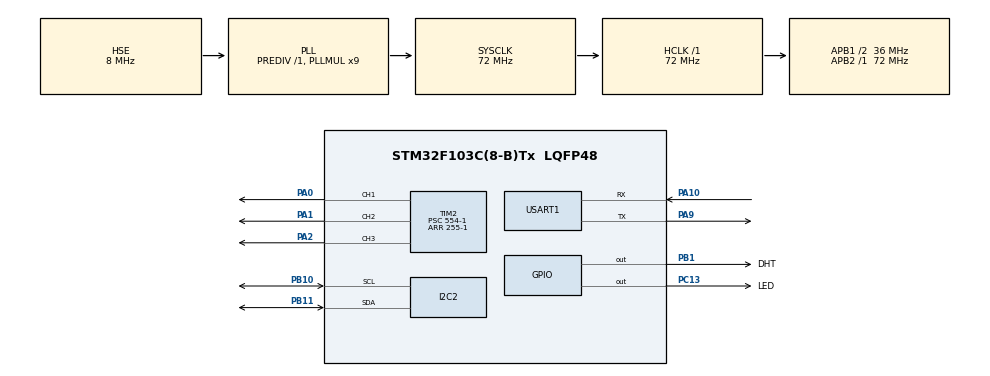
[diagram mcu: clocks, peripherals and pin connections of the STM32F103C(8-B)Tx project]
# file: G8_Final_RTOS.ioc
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FREERTOS.BinarySemaphores01=IRQSem,Dynamic,NULL;DataSem,Dynamic,NULL
FREERTOS.HEAP_NUMBER=4
FREERTOS.Queues01=DataToCom,10,uint32_t,0,Dynamic,NULL,NULL
FREERTOS.Tasks01=defaultTask,8,128,StartDefaultTask,Default,NULL,Dynamic,NULL,NULL;ReadData,32,256,vTask_ReadData,Default,NULL,Dynamic,NULL,NULL;SendToCom,24,256,vTask_SendToCom,Default,NULL,Dynamic,NULL,NULL;ControlRgb,16,200,vTask_ControlRgb,Default,NULL,Dynamic,NULL,NULL;HandleInterrupt,40,256,vTask_HandleInterrupt,Default,NULL,Dynamic,NULL,NULL;Display,25,1024,vTask_Display,Default,NULL,Dynamic,NULL,NULL
FREERTOS.configTOTAL_HEAP_SIZE=10212
FREERTOS.configUSE_NEWLIB_REENTRANT=0
Mcu.Family=STM32F1
Mcu.Name=STM32F103C(8-B)Tx
Mcu.Package=LQFP48
NVIC.PriorityGroup=NVIC_PRIORITYGROUP_4
NVIC.TIM1_UP_IRQn=true\:15\:0\:false\:false\:true\:false\:false\:true\:true
NVIC.TimeBase=TIM1_UP_IRQn
NVIC.TimeBaseIP=TIM1
NVIC.USART1_IRQn=true\:5\:0\:false\:false\:true\:true\:true\:true\:true
PA0-WKUP.Signal=S_TIM2_CH1_ETR
PA1.Signal=S_TIM2_CH2
PA10.Mode=Asynchronous
PA10.Signal=USART1_RX
PA2.Signal=S_TIM2_CH3
PA9.Mode=Asynchronous
PA9.Signal=USART1_TX
PB1.GPIO_Label=DHT
PB1.Signal=GPIO_Output
PB10.Mode=I2C
PB10.Signal=I2C2_SCL
PB11.Mode=I2C
PB11.Signal=I2C2_SDA
PC13-TAMPER-RTC.GPIO_Label=LED
PC13-TAMPER-RTC.Signal=GPIO_Output
PD0-OSC_IN.Mode=HSE-External-Oscillator
PD0-OSC_IN.Signal=RCC_OSC_IN
PD1-OSC_OUT.Mode=HSE-External-Oscillator
PD1-OSC_OUT.Signal=RCC_OSC_OUT
ProjectManager.HeapSize=0x200
ProjectManager.StackSize=0x400
ProjectManager.TargetToolchain=STM32CubeIDE
RCC.AHBFreq_Value=72000000
RCC.APB1CLKDivider=RCC_HCLK_DIV2
RCC.APB1Freq_Value=36000000
RCC.APB1TimFreq_Value=72000000
RCC.APB2Freq_Value=72000000
RCC.APB2TimFreq_Value=72000000
RCC.HCLKFreq_Value=72000000
RCC.PLLMUL=RCC_PLL_MUL9
RCC.PLLSourceVirtual=RCC_PLLSOURCE_HSE
RCC.SYSCLKFreq_VALUE=72000000
RCC.SYSCLKSource=RCC_SYSCLKSOURCE_PLLCLK
RCC.USBFreq_Value=72000000
SH.S_TIM2_CH1_ETR.0=TIM2_CH1,PWM Generation1 CH1
SH.S_TIM2_CH2.0=TIM2_CH2,PWM Generation2 CH2
SH.S_TIM2_CH3.0=TIM2_CH3,PWM Generation3 CH3
TIM2.Channel-PWM\ Generation1\ CH1=TIM_CHANNEL_1
TIM2.Channel-PWM\ Generation2\ CH2=TIM_CHANNEL_2
TIM2.Channel-PWM\ Generation3\ CH3=TIM_CHANNEL_3
TIM2.Period=255-1
TIM2.Prescaler=554-1
TIM4.Period=0xFFFF-1
TIM4.Prescaler=72-1
USART1.VirtualMode=VM_ASYNC
VP_FREERTOS_VS_CMSIS_V2.Mode=CMSIS_V2
VP_SYS_VS_tim1.Mode=TIM1
VP_TIM2_VS_ClockSourceINT.Mode=Internal
VP_TIM4_VS_ClockSourceINT.Mode=Internal
board=custom

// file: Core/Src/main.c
/* USER CODE BEGIN Header */
/**
  ******************************************************************************
  * @file           : main.c
  * @brief          : Main program body
  ******************************************************************************
  * @attention
  *
  * Copyright (c) 2023 STMicroelectronics.
  * All rights reserved.
  *
  * This software is licensed under terms that can be found in the LICENSE file
  * in the root directory of this software component.
  * If no LICENSE file comes with this software, it is provided AS-IS.
  *
  ******************************************************************************
  */
/* USER CODE END Header */
#include "main.h"
#include "cmsis_os.h"

/* USER CODE BEGIN Includes */
#include <stdio.h>
#include <string.h>
#include <stdlib.h>
#include "dht11.h"
#include "rgb.h"
#include "delay_timer.h"
#include "lcd_i2c.h"

#include "FreeRTOS.h"
#include "task.h"
#include "timers.h"
#include "queue.h"
#include "semphr.h"
#include "event_groups.h"
/* USER CODE END Includes */

/* USER CODE BEGIN PTD */

typedef enum
{
	DISPLAY_TEMP_HUMI,
	DISPLAY_TEMP,
	DISPLAY_HUMI,
} DisplayMode_t;

typedef enum
{
	TASK_READ_DATA,
	TASK_CONTROL_RGB,
} TaskIndex_t;

typedef struct
{
	TaskIndex_t TaskIndex;
	float buffDHT[2];
	uint8_t buffRGB[3];
} DataQueue_t;

/* USER CODE END PTD */

/* USER CODE BEGIN PD */

#define MAX_RX_LEN 13
#define RGB_COMMAND_LEN	12
#define DISPLAY_COMMAND_LEN 11
#define TIME_COMMAND_LEN 8

/* USER CODE END PD */

I2C_HandleTypeDef hi2c2;

TIM_HandleTypeDef htim2;
TIM_HandleTypeDef htim4;

UART_HandleTypeDef huart1;

/* Definitions for defaultTask */
osThreadId_t defaultTaskHandle;
const osThreadAttr_t defaultTask_attributes = {
  .name = "defaultTask",
  .stack_size = 128 * 4,
  .priority = (osPriority_t) osPriorityLow,
};
/* Definitions for ReadData */
osThreadId_t ReadDataHandle;
const osThreadAttr_t ReadData_attributes = {
  .name = "ReadData",
  .stack_size = 256 * 4,
  .priority = (osPriority_t) osPriorityAboveNormal,
};
/* Definitions for SendToCom */
osThreadId_t SendToComHandle;
const osThreadAttr_t SendToCom_attributes = {
  .name = "SendToCom",
  .stack_size = 256 * 4,
  .priority = (osPriority_t) osPriorityNormal,
};
/* Definitions for ControlRgb */
osThreadId_t ControlRgbHandle;
const osThreadAttr_t ControlRgb_attributes = {
  .name = "ControlRgb",
  .stack_size = 200 * 4,
  .priority = (osPriority_t) osPriorityBelowNormal,
};
/* Definitions for HandleInterrupt */
osThreadId_t HandleInterruptHandle;
const osThreadAttr_t HandleInterrupt_attributes = {
  .name = "HandleInterrupt",
  .stack_size = 256 * 4,
  .priority = (osPriority_t) osPriorityHigh,
};
/* Definitions for Display */
osThreadId_t DisplayHandle;
const osThreadAttr_t Display_attributes = {
  .name = "Display",
  .stack_size = 1024 * 4,
  .priority = (osPriority_t) osPriorityNormal1,
};
/* Definitions for DataToCom */
osMessageQueueId_t DataToComHandle;
const osMessageQueueAttr_t DataToCom_attributes = {
  .name = "DataToCom"
};
/* Definitions for IRQSem */
osSemaphoreId_t IRQSemHandle;
const osSemaphoreAttr_t IRQSem_attributes = {
  .name = "IRQSem"
};
/* Definitions for DataSem */
osSemaphoreId_t DataSemHandle;
const osSemaphoreAttr_t DataSem_attributes = {
  .name = "DataSem"
};
/* USER CODE BEGIN PV */

RGB_t rgb;
uint32_t rgbInterval = 500;
uint8_t red = 0, green = 0, blue = 0;

DHT11_Sensor dht;
DHT11_Status dhtStatus;
uint32_t dhtInterval = 1500;

LCD_I2C_Name lcd;

uint8_t rxData[MAX_RX_LEN];
uint8_t rxDataIndex = 0;

DisplayMode_t DisplayMode = DISPLAY_TEMP_HUMI;

osStatus_t stat;

DataQueue_t DataQueue;

/* USER CODE END PV */

void SystemClock_Config(void);
static void MX_GPIO_Init(void);
static void MX_TIM4_Init(void);
static void MX_TIM2_Init(void);
static void MX_I2C2_Init(void);
static void MX_USART1_UART_Init(void);
void StartDefaultTask(void *argument);
void vTask_ReadData(void *argument);
void vTask_SendToCom(void *argument);
void vTask_ControlRgb(void *argument);
void vTask_HandleInterrupt(void *argument);
void vTask_Display(void *argument);

/* USER CODE BEGIN 0 */

int __io_putchar(int ch)
{
	HAL_UART_Transmit(&huart1, (uint8_t *)&ch, 1, HAL_MAX_DELAY);

	return ch;
}

void HAL_UART_RxCpltCallback(UART_HandleTypeDef *huart)
{
	if (huart->Instance == huart1.Instance)
	{
		if (rxData[rxDataIndex] == '@')
		{
			rxData[rxDataIndex] = '\0';
			printf("\nCommand: %s\r\n", rxData);
			rxDataIndex = 0;
			if (osThreadGetPriority(HandleInterruptHandle) != osPriorityHigh)
			{
				osThreadSetPriority(HandleInterruptHandle, osPriorityHigh);
			}
			osSemaphoreRelease(IRQSemHandle);
		}
		else
		{
			rxDataIndex ++;
		}
	}
	HAL_UART_Receive_IT(&huart1, (uint8_t*)&rxData[rxDataIndex], 1);
}

/* USER CODE END 0 */

int main(void)
{

  /* MCU Configuration--------------------------------------------------------*/

  /* Reset of all peripherals, Initializes the Flash interface and the Systick. */
  HAL_Init();

  /* Configure the system clock */
  SystemClock_Config();

  /* Initialize all configured peripherals */
  MX_GPIO_Init();
  MX_TIM4_Init();
  MX_TIM2_Init();
  MX_I2C2_Init();
  MX_USART1_UART_Init();
  /* USER CODE BEGIN 2 */

  printf("Start\r\n\n");

  DHT11_Init(&dht, DHT_GPIO_Port, DHT_Pin, &htim4);
  RGB_Init(&rgb, &htim2, TIM_CHANNEL_1, TIM_CHANNEL_2, TIM_CHANNEL_3);
  LCD_Init(&lcd, &hi2c2, LDC_DEFAULT_ADDRESS, 20, 4);

  LCD_SetCursor(&lcd, 0, 0);
  LCD_WriteString(&lcd, "Hello");

  HAL_UART_Receive_IT(&huart1, (uint8_t*)&rxData[rxDataIndex],  1);

  /* USER CODE END 2 */

  /* Init scheduler */
  osKernelInitialize();

  /* Create the semaphores(s) */
  /* creation of IRQSem */
  IRQSemHandle = osSemaphoreNew(1, 0, &IRQSem_attributes);

  /* creation of DataSem */
  DataSemHandle = osSemaphoreNew(1, 0, &DataSem_attributes);

  /* Create the queue(s) */
  /* creation of DataToCom */
  DataToComHandle = osMessageQueueNew (10, sizeof(uint32_t), &DataToCom_attributes);

  /* Create the thread(s) */
  /* creation of defaultTask */
  defaultTaskHandle = osThreadNew(StartDefaultTask, NULL, &defaultTask_attributes);

  /* creation of ReadData */
  ReadDataHandle = osThreadNew(vTask_ReadData, NULL, &ReadData_attributes);

  /* creation of SendToCom */
  SendToComHandle = osThreadNew(vTask_SendToCom, NULL, &SendToCom_attributes);

  /* creation of ControlRgb */
  ControlRgbHandle = osThreadNew(vTask_ControlRgb, NULL, &ControlRgb_attributes);

  /* creation of HandleInterrupt */
  HandleInterruptHandle = osThreadNew(vTask_HandleInterrupt, NULL, &HandleInterrupt_attributes);

  /* creation of Display */
  DisplayHandle = osThreadNew(vTask_Display, NULL, &Display_attributes);

  /* Start scheduler */
  osKernelStart();
  /* We should never get here as control is now taken by the scheduler */
  /* Infinite loop */
  while (1)
  {

  }
}

void SystemClock_Config(void)
{
  RCC_OscInitTypeDef RCC_OscInitStruct = {0};
  RCC_ClkInitTypeDef RCC_ClkInitStruct = {0};

  /** Initializes the RCC Oscillators according to the specified parameters
  * in the RCC_OscInitTypeDef structure.
  */
  RCC_OscInitStruct.OscillatorType = RCC_OSCILLATORTYPE_HSE;
  RCC_OscInitStruct.HSEState = RCC_HSE_ON;
  RCC_OscInitStruct.HSEPredivValue = RCC_HSE_PREDIV_DIV1;
  RCC_OscInitStruct.HSIState = RCC_HSI_ON;
  RCC_OscInitStruct.PLL.PLLState = RCC_PLL_ON;
  RCC_OscInitStruct.PLL.PLLSource = RCC_PLLSOURCE_HSE;
  RCC_OscInitStruct.PLL.PLLMUL = RCC_PLL_MUL9;
  if (HAL_RCC_OscConfig(&RCC_OscInitStruct) != HAL_OK)
  {
    Error_Handler();
  }

  /** Initializes the CPU, AHB and APB buses clocks
  */
  RCC_ClkInitStruct.ClockType = RCC_CLOCKTYPE_HCLK|RCC_CLOCKTYPE_SYSCLK
                              |RCC_CLOCKTYPE_PCLK1|RCC_CLOCKTYPE_PCLK2;
  RCC_ClkInitStruct.SYSCLKSource = RCC_SYSCLKSOURCE_PLLCLK;
  RCC_ClkInitStruct.AHBCLKDivider = RCC_SYSCLK_DIV1;
  RCC_ClkInitStruct.APB1CLKDivider = RCC_HCLK_DIV2;
  RCC_ClkInitStruct.APB2CLKDivider = RCC_HCLK_DIV1;

  if (HAL_RCC_ClockConfig(&RCC_ClkInitStruct, FLASH_LATENCY_2) != HAL_OK)
  {
    Error_Handler();
  }
}

static void MX_I2C2_Init(void)
{

  hi2c2.Instance = I2C2;
  hi2c2.Init.ClockSpeed = 100000;
  hi2c2.Init.DutyCycle = I2C_DUTYCYCLE_2;
  hi2c2.Init.OwnAddress1 = 0;
  hi2c2.Init.AddressingMode = I2C_ADDRESSINGMODE_7BIT;
  hi2c2.Init.DualAddressMode = I2C_DUALADDRESS_DISABLE;
  hi2c2.Init.OwnAddress2 = 0;
  hi2c2.Init.GeneralCallMode = I2C_GENERALCALL_DISABLE;
  hi2c2.Init.NoStretchMode = I2C_NOSTRETCH_DISABLE;
  if (HAL_I2C_Init(&hi2c2) != HAL_OK)
  {
    Error_Handler();
  }

}

static void MX_TIM2_Init(void)
{

  TIM_ClockConfigTypeDef sClockSourceConfig = {0};
  TIM_MasterConfigTypeDef sMasterConfig = {0};
  TIM_OC_InitTypeDef sConfigOC = {0};

  htim2.Instance = TIM2;
  htim2.Init.Prescaler = 554-1;
  htim2.Init.CounterMode = TIM_COUNTERMODE_UP;
  htim2.Init.Period = 255-1;
  htim2.Init.ClockDivision = TIM_CLOCKDIVISION_DIV1;
  htim2.Init.AutoReloadPreload = TIM_AUTORELOAD_PRELOAD_DISABLE;
  if (HAL_TIM_Base_Init(&htim2) != HAL_OK)
  {
    Error_Handler();
  }
  sClockSourceConfig.ClockSource = TIM_CLOCKSOURCE_INTERNAL;
  if (HAL_TIM_ConfigClockSource(&htim2, &sClockSourceConfig) != HAL_OK)
  {
    Error_Handler();
  }
  if (HAL_TIM_PWM_Init(&htim2) != HAL_OK)
  {
    Error_Handler();
  }
  sMasterConfig.MasterOutputTrigger = TIM_TRGO_RESET;
  sMasterConfig.MasterSlaveMode = TIM_MASTERSLAVEMODE_DISABLE;
  if (HAL_TIMEx_MasterConfigSynchronization(&htim2, &sMasterConfig) != HAL_OK)
  {
    Error_Handler();
  }
  sConfigOC.OCMode = TIM_OCMODE_PWM1;
  sConfigOC.Pulse = 0;
  sConfigOC.OCPolarity = TIM_OCPOLARITY_HIGH;
  sConfigOC.OCFastMode = TIM_OCFAST_DISABLE;
  if (HAL_TIM_PWM_ConfigChannel(&htim2, &sConfigOC, TIM_CHANNEL_1) != HAL_OK)
  {
    Error_Handler();
  }
  if (HAL_TIM_PWM_ConfigChannel(&htim2, &sConfigOC, TIM_CHANNEL_2) != HAL_OK)
  {
    Error_Handler();
  }
  if (HAL_TIM_PWM_ConfigChannel(&htim2, &sConfigOC, TIM_CHANNEL_3) != HAL_OK)
  {
    Error_Handler();
  }
  HAL_TIM_MspPostInit(&htim2);

}

static void MX_TIM4_Init(void)
{

  TIM_ClockConfigTypeDef sClockSourceConfig = {0};
  TIM_MasterConfigTypeDef sMasterConfig = {0};

  htim4.Instance = TIM4;
  htim4.Init.Prescaler = 72-1;
  htim4.Init.CounterMode = TIM_COUNTERMODE_UP;
  htim4.Init.Period = 0xFFFF-1;
  htim4.Init.ClockDivision = TIM_CLOCKDIVISION_DIV1;
  htim4.Init.AutoReloadPreload = TIM_AUTORELOAD_PRELOAD_DISABLE;
  if (HAL_TIM_Base_Init(&htim4) != HAL_OK)
  {
    Error_Handler();
  }
  sClockSourceConfig.ClockSource = TIM_CLOCKSOURCE_INTERNAL;
  if (HAL_TIM_ConfigClockSource(&htim4, &sClockSourceConfig) != HAL_OK)
  {
    Error_Handler();
  }
  sMasterConfig.MasterOutputTrigger = TIM_TRGO_RESET;
  sMasterConfig.MasterSlaveMode = TIM_MASTERSLAVEMODE_DISABLE;
  if (HAL_TIMEx_MasterConfigSynchronization(&htim4, &sMasterConfig) != HAL_OK)
  {
    Error_Handler();
  }

}

static void MX_USART1_UART_Init(void)
{

  huart1.Instance = USART1;
  huart1.Init.BaudRate = 115200;
  huart1.Init.WordLength = UART_WORDLENGTH_8B;
  huart1.Init.StopBits = UART_STOPBITS_1;
  huart1.Init.Parity = UART_PARITY_NONE;
  huart1.Init.Mode = UART_MODE_TX_RX;
  huart1.Init.HwFlowCtl = UART_HWCONTROL_NONE;
  huart1.Init.OverSampling = UART_OVERSAMPLING_16;
  if (HAL_UART_Init(&huart1) != HAL_OK)
  {
    Error_Handler();
  }

}

static void MX_GPIO_Init(void)
{
  GPIO_InitTypeDef GPIO_InitStruct = {0};

  /* GPIO Ports Clock Enable */
  __HAL_RCC_GPIOC_CLK_ENABLE();
  __HAL_RCC_GPIOD_CLK_ENABLE();
  __HAL_RCC_GPIOA_CLK_ENABLE();
  __HAL_RCC_GPIOB_CLK_ENABLE();

  /*Configure GPIO pin Output Level */
  HAL_GPIO_WritePin(LED_GPIO_Port, LED_Pin, GPIO_PIN_RESET);

  /*Configure GPIO pin Output Level */
  HAL_GPIO_WritePin(DHT_GPIO_Port, DHT_Pin, GPIO_PIN_RESET);

  /*Configure GPIO pin : LED_Pin */
  GPIO_InitStruct.Pin = LED_Pin;
  GPIO_InitStruct.Mode = GPIO_MODE_OUTPUT_PP;
  GPIO_InitStruct.Pull = GPIO_NOPULL;
  GPIO_InitStruct.Speed = GPIO_SPEED_FREQ_LOW;
  HAL_GPIO_Init(LED_GPIO_Port, &GPIO_InitStruct);

  /*Configure GPIO pin : DHT_Pin */
  GPIO_InitStruct.Pin = DHT_Pin;
  GPIO_InitStruct.Mode = GPIO_MODE_OUTPUT_PP;
  GPIO_InitStruct.Pull = GPIO_NOPULL;
  GPIO_InitStruct.Speed = GPIO_SPEED_FREQ_LOW;
  HAL_GPIO_Init(DHT_GPIO_Port, &GPIO_InitStruct);

}

/* USER CODE BEGIN 4 */
static void DisplayRgb(uint8_t r, uint8_t g, uint8_t b)
{
	printf("RED = %d - GREEN = %d - BLUE = %d\r\n", r, g, b);
}

static void DisplayDht(float temperature, float humidity)
{
	switch (DisplayMode)
	{
		case DISPLAY_TEMP:
			printf("Temperature: %.2f\r\n", temperature);
			break;
		case DISPLAY_HUMI:
			printf("Humidity: %.2f\r\n", humidity);
			break;
		default:
			printf("Temperature: %.2f\r\n", temperature);
			printf("Humidity: %.2f\r\n", humidity);
			break;
	}
}
/* USER CODE END 4 */

void StartDefaultTask(void *argument)
{
  for(;;)
  {
    osDelay(1);
  }
}

void vTask_ReadData(void *argument)
{
  /* USER CODE BEGIN vTask_ReadData */
	int32_t tick = osKernelGetTickCount();

  /* Infinite loop */
	for(;;)
	{
		if (osSemaphoreGetCount(DataSemHandle) == 0)
		{
			tick = tick + dhtInterval;
			printf("vTask_ReadData IN: %ld\r\n", osKernelGetTickCount());

			dhtStatus = DHT11_GetData(&dht);

			switch(dhtStatus)
			{
				case DHT11_ERR_CHECKSUM:
					printf("DHT11 ERROR CHECKSUM\r\n");
					break;
				case DHT11_ERR_RESPONSE:
					printf("DHT11 ERROR RESPONSE\r\n");
					break;
				default:
					printf("Get Data from DHT11 successfully\r\n");
					break;
			}

			printf("vTask_ReadData OUT: %ld\r\n\n", osKernelGetTickCount());

			if (dhtStatus == DHT11_OK)
			{
				osSemaphoreRelease(DataSemHandle);
				DataQueue.TaskIndex = TASK_READ_DATA;
				DataQueue.buffDHT[0] = dht.Temp;
				DataQueue.buffDHT[1] = dht.Humi;
				osMessageQueuePut(DataToComHandle, &DataQueue, 0, 0);
			}

			osDelayUntil(tick);
		}
	}
  /* USER CODE END vTask_ReadData */
}

void vTask_SendToCom(void *argument)
{
  /* USER CODE BEGIN vTask_SendToCom */
  /* Infinite loop */
	for(;;)
	{
		osMessageQueueGet(DataToComHandle, &DataQueue, NULL, osWaitForever);
		printf("vTask_SendToCom IN: %ld\r\n", osKernelGetTickCount());

		switch(DataQueue.TaskIndex)
		{
			case TASK_CONTROL_RGB:
				DisplayRgb(DataQueue.buffRGB[0], DataQueue.buffRGB[1], DataQueue.buffRGB[2]);
				break;
			case TASK_READ_DATA:
				DisplayDht(DataQueue.buffDHT[0], DataQueue.buffDHT[1]);
				break;
			default:
				break;
		}

		printf("vTask_SendToCom OUT: %ld\r\n\n", osKernelGetTickCount());
	}
  /* USER CODE END vTask_SendToCom */
}

void vTask_ControlRgb(void *argument)
{
  /* USER CODE BEGIN vTask_ControlRgb */
	int32_t tick = osKernelGetTickCount();
  /* Infinite loop */
	for(;;)
	{
		tick = tick + rgbInterval;

		printf("vTask_ControlRgb IN: %ld\r\n", osKernelGetTickCount());

		RGB_SetValue(&rgb, red++, green++, blue++);

		printf("vTask_ControlRgb OUT: %ld\r\n\n", osKernelGetTickCount());

		if (osThreadGetPriority(ControlRgbHandle) != osPriorityBelowNormal)
		{
			osThreadSetPriority(ControlRgbHandle, osPriorityBelowNormal);
		}

		if (osMessageQueueGetSpace(DataToComHandle) != 0)
		{
			DataQueue.TaskIndex = TASK_CONTROL_RGB;
			DataQueue.buffRGB[0] = rgb.Data.red_value;
			DataQueue.buffRGB[1] = rgb.Data.green_value;
			DataQueue.buffRGB[2] = rgb.Data.blue_value;
			osMessageQueuePut(DataToComHandle, &DataQueue, 0, 0);
		}

		osDelayUntil(tick);
	}
  /* USER CODE END vTask_ControlRgb */
}

void vTask_HandleInterrupt(void *argument)
{
  /* USER CODE BEGIN vTask_HandleInterrupt */
  /* Infinite loop */
	for(;;)
	{
		osSemaphoreAcquire(IRQSemHandle, osWaitForever);

		osThreadSuspend(ReadDataHandle);
		osThreadSuspend(SendToComHandle);

		const uint8_t* numPart;
		uint8_t buffer[5];
		printf("\n");
		switch (strlen((const char*)rxData))
		{
			case RGB_COMMAND_LEN:
				if (rxData[0] == 'r' && rxData[1] == 'g' && rxData[2] == 'b')
				{
					numPart = rxData + 3;
					for (int i = 0; i < 3; i++)
					{
						strncpy(buffer, (const char*)(numPart + i * 3), 3);
						buffer[3] = '\0'; // Null-terminate the buffer

						switch (i)
						{
							case 0: red = (uint8_t)atoi((const char*)buffer); break;
							case 1: green = (uint8_t)atoi((const char*)buffer); break;
							case 2: blue = (uint8_t)atoi((const char*)buffer); break;
						}
					}

					printf("Change RGB color:\r\n");
					printf("RED = %d\r\nGREEN = %d\r\nBLUE = %d\r\n\n", red, green, blue);

					osThreadSetPriority(ControlRgbHandle, osThreadGetPriority(HandleInterruptHandle) - 1);
					osThreadSuspend(ControlRgbHandle);
					osThreadResume(ControlRgbHandle);
				}
				else
				{
					printf("Error Command Syntax\r\n\n");
				}
				break;
			case DISPLAY_COMMAND_LEN:
				if (strcmp((const char*)rxData, "displaytemp") == 0)
				{
					DisplayMode = DISPLAY_TEMP;
					printf("Change Display Mode to DISPLAY_TEMP\r\n\n");
				}
				else if (strcmp((const char*)rxData, "displayhumi") == 0)
				{
					DisplayMode = DISPLAY_HUMI;
					printf("Change Display Mode to DISPLAY_HUMI\r\n\n");
				}
				else if (strcmp((const char*)rxData, "displayboth") == 0)
				{
					DisplayMode = DISPLAY_TEMP_HUMI;
					printf("Change Display Mode to DISPLAY_TEMP_HUMI\r\n\n");
				}
				else
				{
					printf("Error Command Syntax\r\n\n");
				}
				break;
			case TIME_COMMAND_LEN:
				if(rxData[0] == 't' && rxData[1] == 'i' && rxData[2] == 'm' && rxData[3] == 'e')
				{
					numPart = rxData + 4;
					strncpy(buffer, (const char*)numPart, 4);
					buffer[4] = '\0'; // Null-terminate the buffer
					uint32_t old_dhtInterval = dhtInterval;
					dhtInterval = (uint32_t)atoi((const char*)buffer);

					if (dhtInterval >= 1500 && dhtInterval < 10000)
					{
						printf("Change DHT11 Period from %d to %d\r\n\n", old_dhtInterval, dhtInterval);
					}
					else
					{
						printf("The new Period is invalid! DHT11 Period stays the same: %d\r\n\n", old_dhtInterval);
						dhtInterval = old_dhtInterval;
					}
				}
				else
				{
					printf("Error Command Syntax\r\n\n");
				}
				break;
			default:
				printf("Error Command Syntax\r\n\n");
				break;
		}

		osThreadResume(ReadDataHandle);
		osThreadResume(SendToComHandle);
  }
  /* USER CODE END vTask_HandleInterrupt */
}

void vTask_Display(void *argument)
{
  /* USER CODE BEGIN vTask_Display */
	char temp[15], humi[15];
  /* Infinite loop */
  for(;;)
  {
    osSemaphoreAcquire(DataSemHandle, osWaitForever);
	printf("vTask_Display IN: %ld\r\n", osKernelGetTickCount());

  	if (dhtStatus == DHT11_OK)
  	{
  	  	sprintf(temp, "Temp: %.2f", dht.Temp);
  	  	sprintf(humi, "Humi: %.2f", dht.Humi);

  	  	LCD_Clear(&lcd);

  	  	switch (DisplayMode)
  	  	{
  	  		case DISPLAY_TEMP:
  	  			LCD_SetCursor(&lcd, 0, 0);
  	  			LCD_WriteString(&lcd, temp);
  	  			break;
  	  		case DISPLAY_HUMI:
  	  			LCD_SetCursor(&lcd, 0, 0);
  	  			LCD_WriteString(&lcd, humi);
  	  			break;
  	  		default:
  	  			LCD_SetCursor(&lcd, 0, 0);
  	  			LCD_WriteString(&lcd, temp);
  	  			LCD_SetCursor(&lcd, 0, 1);
  	  			LCD_WriteString(&lcd, humi);
  	  			break;
  	  	}
  	}

  	printf("vTask_Display OUT: %ld\r\n\n", osKernelGetTickCount());
  }
  /* USER CODE END vTask_Display */
}

void HAL_TIM_PeriodElapsedCallback(TIM_HandleTypeDef *htim)
{
  if (htim->Instance == TIM1) {
    HAL_IncTick();
  }
}

void Error_Handler(void)
{
  __disable_irq();
  while (1)
  {
  }
}
